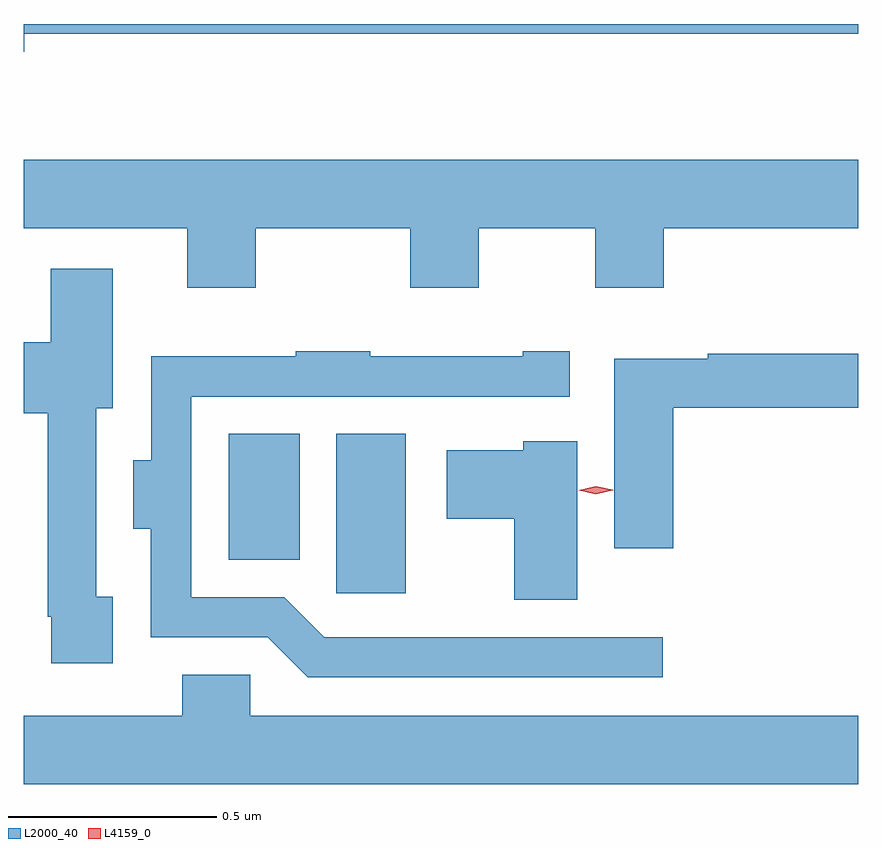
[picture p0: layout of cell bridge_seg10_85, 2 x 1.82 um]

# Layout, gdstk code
import gdstk
lib = gdstk.Library(unit=1e-6, precision=1e-09)
def R(c, l, rs):  # rectangles x0, y0, x1, y1
    for r in rs: c.add(gdstk.rectangle(r[:2], r[2:], *l))
def P(c, l, *ps):  # polygons
    for p in ps: c.add(gdstk.Polygon(p, *l))
L2000_40 = (2000, 40)
L4159_0 = (4159, 0)

bridge_seg10_85 = lib.new_cell('bridge_seg10_85')
R(bridge_seg10_85, L2000_40, [(658.646,1315.425,658.813,1315.807), (658.388,1315.505,658.558,1315.807)])
P(bridge_seg10_85, L2000_40, [(657.898,1316.766),(659.897,1316.766),(659.897,1316.789),(657.897,1316.789),(657.897,1316.723),(657.898,1316.723)],
  [(658.453,1316.3),(658.823,1316.3),(658.823,1316.157),(658.987,1316.157),(658.987,1316.3),(659.267,1316.3),(659.267,1316.157),(659.431,1316.157),(659.431,1316.3),(659.897,1316.3),(659.897,1316.464),(657.897,1316.464),(657.897,1316.3),(658.289,1316.3),(658.289,1316.157),(658.453,1316.157)],
  [(658.111,1315.417),(658.071,1315.417),(658.071,1315.868),(658.111,1315.868),(658.111,1316.203),(657.962,1316.203),(657.962,1316.026),(657.897,1316.026),(657.897,1315.856),(657.955,1315.856),(657.955,1315.369),(657.963,1315.369),(657.963,1315.257),(658.111,1315.257)],
  [(659.428,1315.32),(658.617,1315.32),(658.521,1315.416),(658.299,1315.416),(658.299,1315.896),(659.206,1315.896),(659.206,1316.005),(659.093,1316.005),(659.093,1315.993),(658.727,1315.993),(658.727,1316.005),(658.549,1316.005),(658.549,1315.993),(658.203,1315.993),(658.203,1315.744),(658.16,1315.744),(658.16,1315.58),(658.202,1315.58),(658.202,1315.32),(658.482,1315.32),(658.578,1315.224),(659.428,1315.224)],
  [(659.453,1315.87),(659.897,1315.87),(659.897,1315.999),(659.536,1315.999),(659.536,1315.987),(659.312,1315.987),(659.312,1315.533),(659.453,1315.533)],
  [(659.224,1315.789),(659.094,1315.789),(659.094,1315.768),(658.911,1315.768),(658.911,1315.604),(659.072,1315.604),(659.072,1315.409),(659.224,1315.409)],
  [(659.897,1315.132),(658.44,1315.132),(658.44,1315.23),(658.277,1315.23),(658.277,1315.132),(657.897,1315.132),(657.897,1314.968),(659.897,1314.968)])
P(bridge_seg10_85, L4159_0, [(659.268,1315.662),(659.227,1315.672),(659.227,1315.672),(659.227,1315.672),(659.268,1315.682),(659.309,1315.673),(659.31,1315.672),(659.309,1315.672)])

lib.write_gds('bridge_seg10_85.gds')
